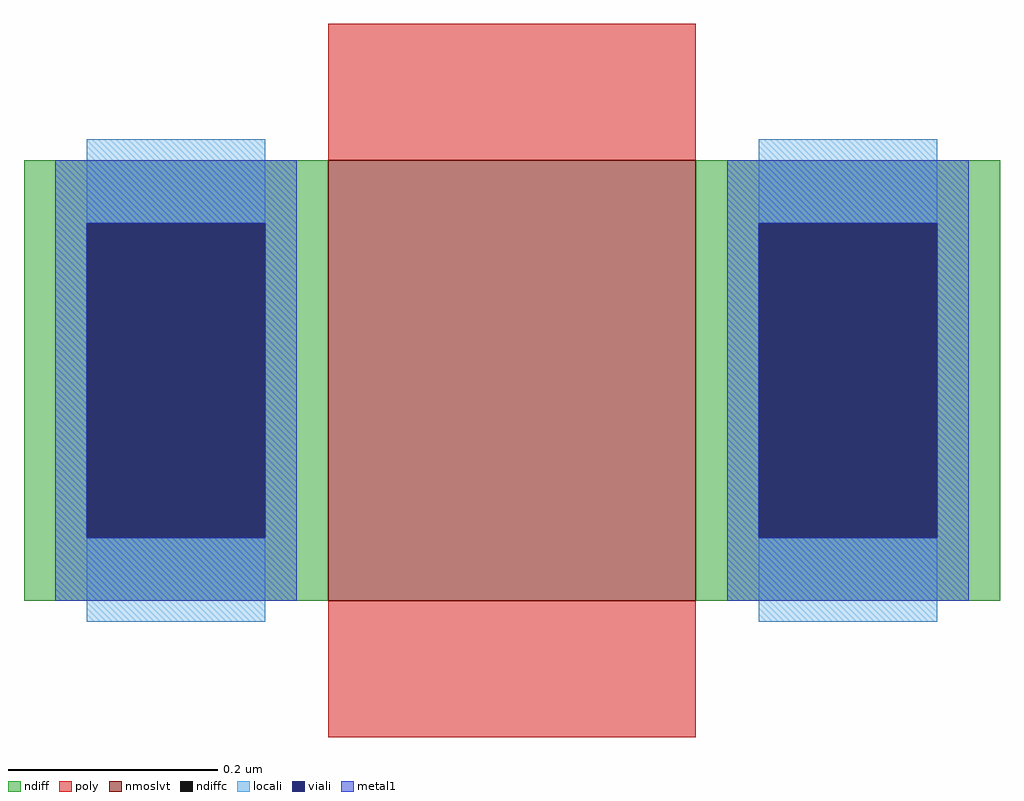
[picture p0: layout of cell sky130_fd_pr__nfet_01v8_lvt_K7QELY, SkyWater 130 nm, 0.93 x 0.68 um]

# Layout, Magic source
magic
tech sky130A
magscale 1 2
<< nmoslvt >>
rect -35 -42 35 42
<< ndiff >>
rect -93 30 -35 42
rect -93 -30 -81 30
rect -47 -30 -35 30
rect -93 -42 -35 -30
rect 35 30 93 42
rect 35 -30 47 30
rect 81 -30 93 30
rect 35 -42 93 -30
<< ndiffc >>
rect -81 -30 -47 30
rect 47 -30 81 30
<< poly >>
rect -35 42 35 68
rect -35 -68 35 -42
<< locali >>
rect -81 30 -47 46
rect -81 -46 -47 -30
rect 47 30 81 46
rect 47 -46 81 -30
<< viali >>
rect -81 -30 -47 30
rect 47 -30 81 30
<< metal1 >>
rect -87 30 -41 42
rect -87 -30 -81 30
rect -47 -30 -41 30
rect -87 -42 -41 -30
rect 41 30 87 42
rect 41 -30 47 30
rect 81 -30 87 30
rect 41 -42 87 -30
<< properties >>
string FIXED_BBOX -178 -199 178 199
string gencell sky130_fd_pr__nfet_01v8_lvt
string library sky130
string parameters w 0.420 l 0.350 m 1 nf 1 diffcov 100 polycov 100 guard 1 glc 1 grc 1 gtc 1 gbc 1 tbcov 100 rlcov 100 topc 1 botc 1 poverlap 0 doverlap 1 lmin 0.15 wmin 0.42 compatible {sky130_fd_pr__nfet_01v8 sky130_fd_pr__nfet_01v8_lvt  sky130_fd_bs_flash__special_sonosfet_star  sky130_fd_pr__nfet_g5v0d10v5 sky130_fd_pr__nfet_05v0_nvt  sky130_fd_pr__nfet_03v3_nvt} full_metal 1 viasrc 100 viadrn 100 viagate 100 viagb 0 viagr 0 viagl 0 viagt 0
<< end >>
